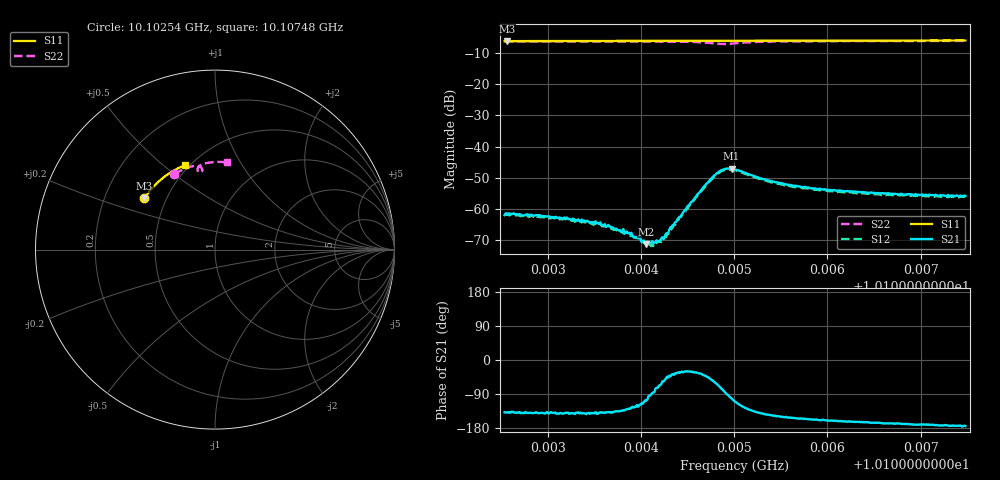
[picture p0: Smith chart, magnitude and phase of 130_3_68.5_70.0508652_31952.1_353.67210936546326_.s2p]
#  HZ  S  RI  R  50.00
! Rohde & Schwarz Vector Network Analyzer
! Rohde-Schwarz,ZNB20-2Port,1311601062101988,3.16
! Created: UTC 3/20/2024, 5:09:35 PM
! freq[Hz]  re:S11  im:S11  re:S21  im:S21  re:S12  im:S12  re:S22  im:S22
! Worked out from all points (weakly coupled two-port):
!   401 points, 10.10254 GHz to 10.10748 GHz, reference 50 ohm
!   highest |S21| = -47.03 dB at 10.10497 GHz (marker M1); lowest = -71.1 dB at 10.10406 GHz (marker M2)
!   lowest |S11| = -6.3 dB at 10.10256 GHz (marker M3), VSWR 2.90, Z = 18.9 + j14.2 ohm
!   |S11| at or under -10 dB: nowhere
!   |S22| runs from -7.2 to -6.2 dB; largest |S21 - S12| = 0.00045
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1.0102537e10  -0.3938 0.2858  -0.000593 -0.000537  -0.000567 -0.000606  -0.2264 0.4219
1.0102562e10  -0.393 0.2869  -0.000636 -0.000566  -0.000574 -0.000569  -0.2251 0.4226
1.0103081e10  -0.375 0.3128  -0.000563 -0.000495  -0.000509 -0.000502  -0.1949 0.4388
1.0103365e10  -0.3643 0.3264  -0.000528 -0.000423  -0.000438 -0.000424  -0.1775 0.4468
1.0103538e10  -0.3575 0.3344  -0.000468 -0.000364  -0.000388 -0.000375  -0.1666 0.4516
1.0103847e10  -0.3451 0.3484  -0.000278 -0.000335  -0.000247 -0.000353  -0.1461 0.4589
1.0103946e10  -0.3409 0.3529  -0.0002 -0.000299  -0.000167 -0.000301  -0.1395 0.4608
1.010397e10  -0.3399 0.354  -0.000186 -0.000282  -0.000119 -0.000309  -0.1374 0.4615
1.0104032e10  -0.3373 0.3567  -0.000109 -0.000294  -5.6e-05 -0.000278  -0.133 0.4627
1.0104057e10  -0.3362 0.3578  -8.26e-05 -0.000265  -7.93e-05 -0.000259  -0.1311 0.463
1.0104106e10  -0.334 0.3599  -4.25e-06 -0.000285  -7.8e-06 -0.000255  -0.1275 0.464
1.0104193e10  -0.3305 0.3636  0.000116 -0.00028  0.000128 -0.00027  -0.1209 0.4653
1.0104267e10  -0.3272 0.3668  0.000265 -0.000306  0.000255 -0.000247  -0.1147 0.4662
1.0104514e10  -0.3163 0.377  0.000994 -0.000578  0.000993 -0.000482  -0.092 0.4656
1.0104773e10  -0.3045 0.3873  0.00189 -0.00271  0.00204 -0.00241  -0.0704 0.4437
1.0104872e10  -0.3 0.3909  0.000901 -0.00413  0.00121 -0.00392  -0.0784 0.431
1.0104971e10  -0.2954 0.3949  -0.00092 -0.00435  -0.000492 -0.00423  -0.0931 0.4338
1.0105008e10  -0.2939 0.3963  -0.00146 -0.00405  -0.00106 -0.00402  -0.096 0.4385
1.0105391e10  -0.2754 0.4106  -0.00231 -0.00159  -0.00207 -0.00171  -0.0765 0.4723
1.0105836e10  -0.2532 0.4261  -0.00197 -0.000849  -0.00182 -0.000958  -0.043 0.4827
1.0106663e10  -0.2099 0.4509  -0.00172 -0.000385  -0.00159 -0.000529  0.0134 0.4884
1.0107479e10  -0.1648 0.4711  -0.00162 -0.000165  -0.00153 -0.000283  0.0667 0.4864
